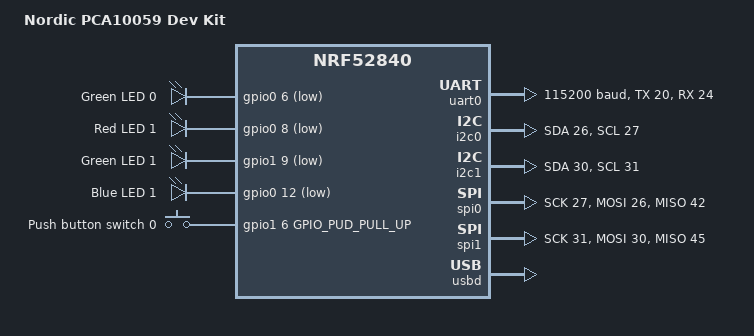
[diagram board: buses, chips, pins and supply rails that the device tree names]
/*
 * Copyright (c) 2018 Nordic Semiconductor ASA
 * Copyright (c) 2017 Linaro Limited
 *
 * SPDX-License-Identifier: Apache-2.0
 */

/dts-v1/;
#include <nordic/nrf52840_qiaa.dtsi>

/ {
	model = "Nordic PCA10059 Dev Kit";
	compatible = "nordic,pca10059-dk", "nordic,nrf52840-qiaa",
		     "nordic,nrf52840";

	chosen {
		zephyr,console = &uart0;
#ifdef CONFIG_MCUMGR_SMP_UART
		zephyr,uart-mcumgr = &uart0;
#endif
		zephyr,sram = &sram0;
		zephyr,flash = &flash0;
	};

	leds {
		compatible = "gpio-leds";
		led0_green: led@0 {
			gpios = <&gpio0 6 GPIO_INT_ACTIVE_LOW>;
			label = "Green LED 0";
		};
		led1_red: led@1 {
			gpios = <&gpio0 8 GPIO_INT_ACTIVE_LOW>;
			label = "Red LED 1";
		};
		led1_green: led@2 {
			gpios = <&gpio1 9 GPIO_INT_ACTIVE_LOW>;
			label = "Green LED 1";
		};
		led1_blue: led@3 {
			gpios = <&gpio0 12 GPIO_INT_ACTIVE_LOW>;
			label = "Blue LED 1";
		};
	};

	buttons {
		compatible = "gpio-keys";
		button0: button@0 {
			gpios = <&gpio1 6 GPIO_PUD_PULL_UP>;
			label = "Push button switch 0";
		};
	};

	/* These aliases are provided for compatibility with samples */
	aliases {
		sw0 = &button0;
		led0 = &led0_green;
		led1 = &led1_red;
		led2 = &led1_green;
		led3 = &led1_blue;
		led0-green = &led0_green;
		led1-red   = &led1_red;
		led1-green = &led1_green;
		led1-blue  = &led1_blue;
	};
};

&gpiote {
	status ="ok";
};

&gpio0 {
	status ="ok";
};

&gpio1 {
	status ="ok";
};

&uart0 {
	compatible = "nordic,nrf-uarte";
	current-speed = <115200>;
	status = "ok";
	tx-pin = <20>;
	rx-pin = <24>;
	rts-pin = <17>;
	cts-pin = <22>;
};

&i2c0 {
	status = "ok";
	sda-pin = <26>;
	scl-pin = <27>;
};

&i2c1 {
	status = "ok";
	sda-pin = <30>;
	scl-pin = <31>;
};

/*
 * By default, not adding all available SPI instances (spi2, spi3) due to
 * limited GPIOs available on dongle board.
 */
&spi0 {
	status = "ok";
	sck-pin = <27>;
	mosi-pin = <26>;
	miso-pin = <42>;
};

&spi1 {
	status = "ok";
	sck-pin = <31>;
	mosi-pin = <30>;
	miso-pin = <45>;
};

&flash0 {
	/*
	 * For more information, see:
	 * http://docs.zephyrproject.org/latest/devices/dts/flash_partitions.html
	 */
	partitions {
		compatible = "fixed-partitions";
		#address-cells = <1>;
		#size-cells = <1>;

		boot_partition: partition@e0000 {
			label = "mcuboot";
			reg = <0x0000e0000 0x0001a000>;
		};
		slot0_partition: partition@1000 {
			label = "image-0";
			reg = <0x00001000 0x000060000>;
		};
		slot1_partition: partition@61000 {
			label = "image-1";
			reg = <0x0061000 0x000060000>;
		};
		scratch_partition: partition@c1000 {
			label = "image-scratch";
			reg = <0x000c1000 0x0001f000>;
		};

#if defined(CONFIG_FS_FLASH_STORAGE_PARTITION)
		storage_partition: partition@fa000 {
			label = "storage";
			reg = <0x000fa000 0x00004000>;
		};
#endif
	};
};

&usbd {
	compatible = "nordic,nrf-usbd";
	status = "ok";
};
